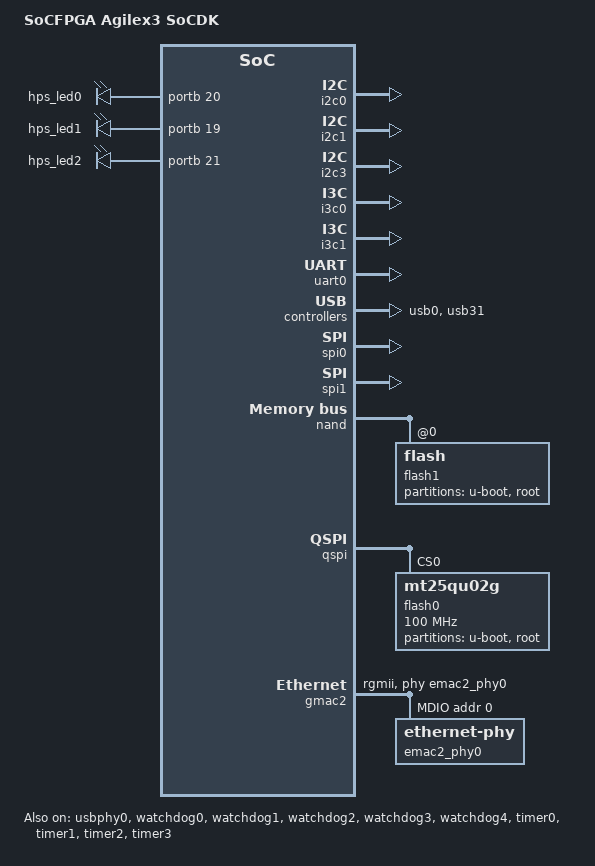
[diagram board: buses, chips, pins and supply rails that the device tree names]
// SPDX-License-Identifier:     GPL-2.0
/*
 * Copyright (C) 2026 Altera Corporation <www.altera.com>
 */
#include "socfpga_agilex5.dtsi"

/ {
	model = "SoCFPGA Agilex3 SoCDK";

	aliases {
		serial0 = &uart0;
		ethernet2 = &gmac2;
	};

	leds {
		compatible = "gpio-leds";
		hps0 {
			label = "hps_led0";
			gpios = <&portb 20 GPIO_ACTIVE_HIGH>;
		};

		hps1 {
			label = "hps_led1";
			gpios = <&portb 19 GPIO_ACTIVE_HIGH>;
		};

		hps2 {
			label = "hps_led2";
			gpios = <&portb 21 GPIO_ACTIVE_HIGH>;
		};
	};

	memory {
		device_type = "memory";
		/* We expect the bootloader to fill in the reg */
		reg = <0 0 0 0>;
	};

	soc {
		clocks {
			osc1 {
				clock-frequency = <25000000>;
			};
		};
	};
};

&gpio0 {
	status = "okay";
};

&gpio1 {
	status = "okay";
};

&i2c0 {
	status = "okay";
};

&i2c1 {
	status = "okay";
};

&i2c3 {
	status = "okay";
};

&i3c0 {
	status = "okay";
};

&i3c1 {
	status = "okay";
};

&mmc {
	sd-uhs-sdr104;
	sdhci-caps-mask = <0x00002000 0x0000ff00>;
};

&uart0 {
	status = "okay";
};

&usbphy0 {
	status = "okay";
};

&usb0 {
	status = "okay";
	disable-over-current;
};

&usb31 {
	status = "okay";
};

&watchdog0 {
	status = "okay";
};

&watchdog1 {
	status = "okay";
};

&watchdog2 {
	status = "okay";
};

&watchdog3 {
	status = "okay";
};

&watchdog4 {
	status = "okay";
};

&timer0 {
	status = "okay";
};

&timer1 {
	status = "okay";
};

&timer2 {
	status = "okay";
};

&timer3 {
	status = "okay";
};

&spi0 {
	status = "okay";
};

&spi1 {
	status = "okay";
};

&nand {
	status = "okay";

	flash1: flash@0 {
		reg = <0>;
		#address-cells = <1>;
		#size-cells = <1>;

		partition@0 {
			label = "u-boot";
			reg = <0 0x200000>;
		};
		partition@200000 {
			label = "root";
			reg = <0x200000 0x3fe00000>;
		};
	};
};

&qspi {
	flash0: flash@0 {
		#address-cells = <1>;
		#size-cells = <1>;
		compatible = "mt25qu02g";
		reg = <0>;
		spi-max-frequency = <100000000>;

		m25p,fast-read;
		cdns,page-size = <256>;
		cdns,block-size = <16>;
		cdns,read-delay = <1>;
		cdns,tshsl-ns = <50>;
		cdns,tsd2d-ns = <50>;
		cdns,tchsh-ns = <4>;
		cdns,tslch-ns = <4>;

		partitions {
			compatible = "fixed-partitions";
			#address-cells = <1>;
			#size-cells = <1>;

			qspi_boot: partition@0 {
				label = "u-boot";
				reg = <0x0 0x00c00000>;
			};

			root: partition@c00000 {
				label = "root";
				reg = <0x00c00000 0x03400000>;
			};
		};
	};
};

&gmac2 {
	status = "okay";
	phy-mode = "rgmii";
	phy-handle = <&emac2_phy0>;
	max-frame-size = <9000>;

	mdio0 {
		#address-cells = <1>;
		#size-cells = <0>;
		compatible = "snps,dwmac-mdio";
		emac2_phy0: ethernet-phy@0 {
			reg = <0>;
			rxc-skew-ps = <0>;
			rxdv-skew-ps = <0>;
			rxd0-skew-ps = <0>;
			rxd1-skew-ps = <0>;
			rxd2-skew-ps = <0>;
			rxd3-skew-ps = <0>;
			txc-skew-ps = <0>;
			txen-skew-ps = <60>;
			txd0-skew-ps = <60>;
			txd1-skew-ps = <60>;
			txd2-skew-ps = <60>;
			txd3-skew-ps = <60>;
		};
	};
};
